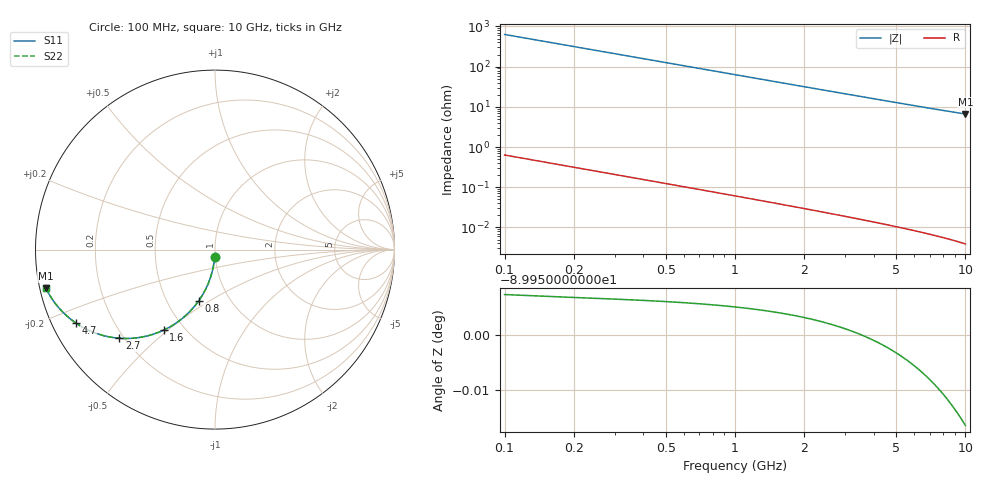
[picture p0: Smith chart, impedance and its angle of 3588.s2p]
# Hz S RI R 50.00
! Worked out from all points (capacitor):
!   100 points, 100 MHz to 10 GHz, reference 50 ohm
!   read as one part in shunt: C = 2.52 pF near 100 MHz
!   lowest |Z| = 6.63 ohm at 10 GHz (marker M1)
!   S11 on the Smith chart (normalised r, x): 100 MHz: 0.99, -0.08; 800 MHz: 0.71, -0.45; 1.6 GHz: 0.39, -0.48; 2.7 GHz: 0.18, -0.38; 4.7 GHz: 0.07, -0.25; 10 GHz: 0.02, -0.11
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1e8  -0.00149 -0.0393  0.9983 -0.0397  0.9983 -0.0397  -0.00149 -0.0393
2e8  -0.00619 -0.0783  0.9936 -0.079  0.9936 -0.079  -0.00619 -0.0783
3e8  -0.0139 -0.1165  0.9859 -0.1176  0.9859 -0.1176  -0.0139 -0.1165
4e8  -0.0245 -0.1537  0.9753 -0.1551  0.9753 -0.1551  -0.0245 -0.1537
5e8  -0.0377 -0.1895  0.962 -0.1912  0.962 -0.1912  -0.0377 -0.1895
6e8  -0.0535 -0.2237  0.9463 -0.2257  0.9463 -0.2257  -0.0535 -0.2237
8e8  -0.0912 -0.2863  0.9085 -0.289  0.9085 -0.289  -0.0912 -0.2863
1e9  -0.1356 -0.3403  0.8642 -0.3436  0.8642 -0.3436  -0.1356 -0.3403
1.2e9  -0.1842 -0.3852  0.8155 -0.3893  0.8155 -0.3893  -0.1842 -0.3852
1.4e9  -0.2351 -0.4213  0.7647 -0.426  0.7647 -0.426  -0.2351 -0.4213
1.6e9  -0.2864 -0.4489  0.7133 -0.4543  0.7133 -0.4543  -0.2864 -0.4489
1.8e9  -0.3369 -0.4691  0.6629 -0.4752  0.6629 -0.4752  -0.3369 -0.4691
2.2e9  -0.4315 -0.4911  0.5683 -0.4985  0.5683 -0.4985  -0.4315 -0.4911
2.7e9  -0.5335 -0.4938  0.4662 -0.5029  0.4662 -0.5029  -0.5335 -0.4938
3.4e9  -0.6448 -0.4723  0.3549 -0.4838  0.3549 -0.4838  -0.6448 -0.4723
4e9  -0.7155 -0.4438  0.2842 -0.4574  0.2842 -0.4574  -0.7155 -0.4438
4.7e9  -0.7767 -0.4078  0.223 -0.4238  0.223 -0.4238  -0.7767 -0.4078
5.1e9  -0.8039 -0.3877  0.1957 -0.4051  0.1957 -0.4051  -0.8039 -0.3877
5.8e9  -0.8416 -0.3545  0.158 -0.3743  0.158 -0.3743  -0.8416 -0.3545
6.7e9  -0.8767 -0.3164  0.1228 -0.3394  0.1228 -0.3394  -0.8767 -0.3164
8.4e9  -0.9184 -0.2581  0.0809 -0.2872  0.0809 -0.2872  -0.9184 -0.2581
1e10  -0.9414 -0.2159  0.0577 -0.2508  0.0577 -0.2508  -0.9414 -0.2159
